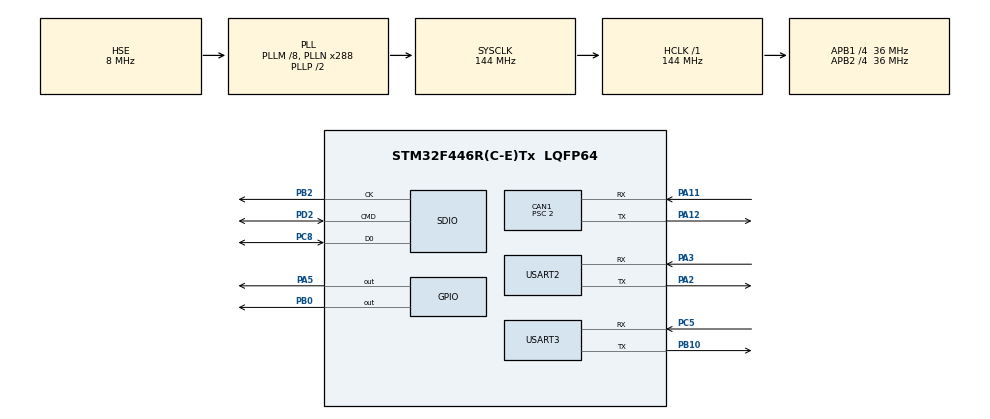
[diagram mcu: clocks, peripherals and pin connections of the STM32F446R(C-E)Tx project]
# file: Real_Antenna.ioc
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CAN1.BS1=CAN_BS1_12TQ
CAN1.BS2=CAN_BS2_5TQ
CAN1.CalculateTimeQuantum=55.55555555555556
CAN1.Prescaler=2
Dma.Request0=SDIO_RX
Dma.Request1=SDIO_TX
Dma.SDIO_RX.0.Direction=DMA_PERIPH_TO_MEMORY
Dma.SDIO_RX.0.FIFOMode=DMA_FIFOMODE_ENABLE
Dma.SDIO_RX.0.FIFOThreshold=DMA_FIFO_THRESHOLD_FULL
Dma.SDIO_RX.0.Instance=DMA2_Stream3
Dma.SDIO_RX.0.MemBurst=DMA_MBURST_INC4
Dma.SDIO_RX.0.MemDataAlignment=DMA_MDATAALIGN_WORD
Dma.SDIO_RX.0.MemInc=DMA_MINC_ENABLE
Dma.SDIO_RX.0.Mode=DMA_PFCTRL
Dma.SDIO_RX.0.PeriphBurst=DMA_PBURST_INC4
Dma.SDIO_RX.0.PeriphDataAlignment=DMA_PDATAALIGN_WORD
Dma.SDIO_RX.0.PeriphInc=DMA_PINC_DISABLE
Dma.SDIO_RX.0.Priority=DMA_PRIORITY_LOW
Dma.SDIO_TX.1.Direction=DMA_MEMORY_TO_PERIPH
Dma.SDIO_TX.1.FIFOMode=DMA_FIFOMODE_ENABLE
Dma.SDIO_TX.1.FIFOThreshold=DMA_FIFO_THRESHOLD_FULL
Dma.SDIO_TX.1.Instance=DMA2_Stream6
Dma.SDIO_TX.1.MemBurst=DMA_MBURST_INC4
Dma.SDIO_TX.1.MemDataAlignment=DMA_MDATAALIGN_WORD
Dma.SDIO_TX.1.MemInc=DMA_MINC_ENABLE
Dma.SDIO_TX.1.Mode=DMA_PFCTRL
Dma.SDIO_TX.1.PeriphBurst=DMA_PBURST_INC4
Dma.SDIO_TX.1.PeriphDataAlignment=DMA_PDATAALIGN_WORD
Dma.SDIO_TX.1.PeriphInc=DMA_PINC_DISABLE
Dma.SDIO_TX.1.Priority=DMA_PRIORITY_LOW
FATFS.USE_DMA_CODE_SD=1
Mcu.Family=STM32F4
Mcu.Name=STM32F446R(C-E)Tx
Mcu.Package=LQFP64
NVIC.CAN1_RX0_IRQn=true\:0\:0\:false\:true\:true\:1\:true
NVIC.CAN1_RX1_IRQn=true\:0\:0\:false\:true\:true\:2\:true
NVIC.CAN1_SCE_IRQn=true\:0\:0\:false\:true\:true\:3\:true
NVIC.DMA2_Stream3_IRQn=true\:0\:0\:false\:false\:true\:false
NVIC.DMA2_Stream6_IRQn=true\:0\:0\:false\:false\:true\:false
NVIC.PriorityGroup=NVIC_PRIORITYGROUP_4
NVIC.SDIO_IRQn=true\:0\:0\:false\:false\:true\:true
NVIC.TIM6_DAC_IRQn=true\:0\:0\:false\:true\:true\:4\:true
NVIC.TIM7_IRQn=true\:0\:0\:false\:true\:true\:5\:true
PA11.Mode=Master
PA11.Signal=CAN1_RX
PA12.Mode=Master
PA12.Signal=CAN1_TX
PA2.Mode=Asynchronous
PA2.Signal=USART2_TX
PA3.Mode=Asynchronous
PA3.Signal=USART2_RX
PA5.GPIO_PuPd=GPIO_PULLUP
PA5.Signal=GPIO_Output
PB0.GPIO_PuPd=GPIO_PULLUP
PB0.Signal=GPIO_Output
PB10.Mode=Asynchronous
PB10.Signal=USART3_TX
PB2.Mode=SD_1_bit
PB2.Signal=SDIO_CK
PC5.Mode=Asynchronous
PC5.Signal=USART3_RX
PC8.Mode=SD_1_bit
PC8.Signal=SDIO_D0
PD2.Mode=SD_1_bit
PD2.Signal=SDIO_CMD
PH0-OSC_IN.Mode=HSE-External-Clock-Source
PH0-OSC_IN.Signal=RCC_OSC_IN
PH1-OSC_OUT.Mode=HSE-External-Clock-Source
PH1-OSC_OUT.Signal=RCC_OSC_OUT
ProjectManager.HeapSize=0x2000
ProjectManager.StackSize=0x4000
ProjectManager.TargetToolchain=SW4STM32
RCC.AHBFreq_Value=144000000
RCC.APB1CLKDivider=RCC_HCLK_DIV4
RCC.APB1Freq_Value=36000000
RCC.APB1TimFreq_Value=72000000
RCC.APB2CLKDivider=RCC_HCLK_DIV4
RCC.APB2Freq_Value=36000000
RCC.APB2TimFreq_Value=72000000
RCC.CortexFreq_Value=144000000
RCC.HCLKFreq_Value=144000000
RCC.HSE_VALUE=8000000
RCC.PLLM=8
RCC.PLLN=288
RCC.PLLQ=8
RCC.PLLSourceVirtual=RCC_PLLSOURCE_HSE
RCC.SYSCLKFreq_VALUE=144000000
RCC.SYSCLKSource=RCC_SYSCLKSOURCE_PLLCLK
RCC.USBFreq_Value=36000000
RCC.VCOOutputFreq_Value=288000000
TIM6.Period=1000
TIM6.Prescaler=72
TIM7.Period=1999
TIM7.Prescaler=3600
USART2.VirtualMode=VM_ASYNC
USART3.VirtualMode=VM_ASYNC
VP_FATFS_VS_SDIO.Mode=SDIO
VP_TIM6_VS_ClockSourceINT.Mode=Enable_Timer
VP_TIM7_VS_ClockSourceINT.Mode=Enable_Timer
board=Real_Antenna

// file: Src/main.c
/**
  ******************************************************************************
  * @file           : main.c
  * @brief          : Main program body
  ******************************************************************************
  * This notice applies to any and all portions of this file
  * that are not between comment pairs USER CODE BEGIN and
  * USER CODE END. Other portions of this file, whether
  * inserted by the user or by software development tools
  * are owned by their respective copyright owners.
  *
  * Copyright (c) 2018 STMicroelectronics International N.V.
  * All rights reserved.
  *
  * Redistribution and use in source and binary forms, with or without
  * modification, are permitted, provided that the following conditions are met:
  *
  * 1. Redistribution of source code must retain the above copyright notice,
  *    this list of conditions and the following disclaimer.
  * 2. Redistributions in binary form must reproduce the above copyright notice,
  *    this list of conditions and the following disclaimer in the documentation
  *    and/or other materials provided with the distribution.
  * 3. Neither the name of STMicroelectronics nor the names of other
  *    contributors to this software may be used to endorse or promote products
  *    derived from this software without specific written permission.
  * 4. This software, including modifications and/or derivative works of this
  *    software, must execute solely and exclusively on microcontroller or
  *    microprocessor devices manufactured by or for STMicroelectronics.
  * 5. Redistribution and use of this software other than as permitted under
  *    this license is void and will automatically terminate your rights under
  *    this license.
  *
  * THIS SOFTWARE IS PROVIDED BY STMICROELECTRONICS AND CONTRIBUTORS "AS IS"
  * AND ANY EXPRESS, IMPLIED OR STATUTORY WARRANTIES, INCLUDING, BUT NOT
  * LIMITED TO, THE IMPLIED WARRANTIES OF MERCHANTABILITY, FITNESS FOR A
  * PARTICULAR PURPOSE AND NON-INFRINGEMENT OF THIRD PARTY INTELLECTUAL PROPERTY
  * RIGHTS ARE DISCLAIMED TO THE FULLEST EXTENT PERMITTED BY LAW. IN NO EVENT
  * SHALL STMICROELECTRONICS OR CONTRIBUTORS BE LIABLE FOR ANY DIRECT, INDIRECT,
  * INCIDENTAL, SPECIAL, EXEMPLARY, OR CONSEQUENTIAL DAMAGES (INCLUDING, BUT NOT
  * LIMITED TO, PROCUREMENT OF SUBSTITUTE GOODS OR SERVICES; LOSS OF USE, DATA,
  * OR PROFITS; OR BUSINESS INTERRUPTION) HOWEVER CAUSED AND ON ANY THEORY OF
  * LIABILITY, WHETHER IN CONTRACT, STRICT LIABILITY, OR TORT (INCLUDING
  * NEGLIGENCE OR OTHERWISE) ARISING IN ANY WAY OUT OF THE USE OF THIS SOFTWARE,
  * EVEN IF ADVISED OF THE POSSIBILITY OF SUCH DAMAGE.
  *
  ******************************************************************************
  */
#include "main.h"
#include "stm32f4xx_hal.h"
#include "fatfs.h"

/* USER CODE BEGIN Includes */
#include "string.h"
#include "stdio.h"
#include "stdlib.h"
#include "inttypes.h"
/* USER CODE END Includes */

CAN_HandleTypeDef hcan1;

SD_HandleTypeDef hsd;
DMA_HandleTypeDef hdma_sdio_rx;
DMA_HandleTypeDef hdma_sdio_tx;

TIM_HandleTypeDef htim6;
TIM_HandleTypeDef htim7;

UART_HandleTypeDef huart2;
UART_HandleTypeDef huart3;

/* USER CODE BEGIN PV */
/* Private variables ---------------------------------------------------------*/
CAN_FilterTypeDef sFilter;
CAN_RxHeaderTypeDef RxHeader;

FIL loggingFile;
FIL log_names_f;

TCHAR message[256];

static TIM_HandleTypeDef a_TimerInstance6 = {.Instance = TIM6};
static TIM_HandleTypeDef a_TimerInstance7 = {.Instance = TIM7};

int secondsElapsed = 0;
int cont_rx=0;
char messagesToWrite[200][256];
int time=0;
int printable_time = 0;
int byteswritten;
int delta;
char filename[256] = "abcabc.txt";
char filename_1[256]="log_names.txt";
char txt[100];
int interrupt_flag = 0;
int max_files = 100;

int mount_ok = 0;
int msg_counter = 0;
int msg_index = 0;

char buffer[256]="Starting Antenna Logging\r\n";
int bytes_read;

char *pointer;
char log_names[356];
FRESULT res_open;
FRESULT res_mount;
int successfull_opening = 0;
/* USER CODE END PV */

void SystemClock_Config(void);
static void MX_GPIO_Init(void);
static void MX_DMA_Init(void);
static void MX_USART3_UART_Init(void);
static void MX_SDIO_SD_Init(void);
static void MX_USART2_UART_Init(void);
static void MX_CAN1_Init(void);
static void MX_TIM6_Init(void);
static void MX_TIM7_Init(void);
static void MX_NVIC_Init(void);

/* USER CODE BEGIN PFP */
/* Private function prototypes -----------------------------------------------*/
void print(UART_HandleTypeDef *huart, char* text);
/* USER CODE END PFP */

int main(void)
{

  /* MCU Configuration----------------------------------------------------------*/

  /* Reset of all peripherals, Initializes the Flash interface and the Systick. */
  HAL_Init();

  /* Configure the system clock */
  SystemClock_Config();

  /* Initialize all configured peripherals */
  MX_GPIO_Init();
  MX_DMA_Init();
  MX_USART3_UART_Init();
  MX_SDIO_SD_Init();
  MX_FATFS_Init();
  MX_USART2_UART_Init();
  MX_CAN1_Init();
  MX_TIM6_Init();
  MX_TIM7_Init();

  /* Initialize interrupts */
  MX_NVIC_Init();
  /* USER CODE BEGIN 2 */
	sFilter.FilterMode = CAN_FILTERMODE_IDMASK;
	sFilter.FilterIdLow = 0;
	sFilter.FilterIdHigh = 0;
	sFilter.FilterMaskIdHigh = 0;
	sFilter.FilterMaskIdLow = 0;
	sFilter.FilterFIFOAssignment = CAN_FILTER_FIFO0;
	sFilter.FilterBank = 0;
	sFilter.FilterScale  = CAN_FILTERSCALE_16BIT;
	sFilter.FilterActivation = ENABLE;
	HAL_CAN_ConfigFilter(&hcan1, &sFilter);

	HAL_GPIO_TogglePin(GPIOB, GPIO_PIN_0);
	HAL_Delay(500);
	HAL_GPIO_TogglePin(GPIOB, GPIO_PIN_0);
	HAL_Delay(500);

	print(&huart2, "---mounting---\r\n");
	res_mount = f_mount(&SDFatFS, (TCHAR const*)SDPath, 0);

	HAL_Delay(10);

	while(successfull_opening != 1){
		init_sd();
	}

	HAL_CAN_Start(&hcan1);
	HAL_CAN_ActivateNotification(&hcan1, CAN1_RX0_IRQn);
	HAL_CAN_ActivateNotification(&hcan1, CAN1_RX1_IRQn);

	print(&huart2, "Can Init Done\r\n");

	HAL_TIM_Base_Start(&htim6);
	HAL_TIM_Base_Start(&htim7);
	HAL_TIM_Base_Start_IT(&htim6);
	HAL_TIM_Base_Start_IT(&htim7);

	//HAL_GPIO_TogglePin(GPIOB, GPIO_PIN_0);
  /* USER CODE END 2 */

  /* Infinite loop */
  /* USER CODE BEGIN WHILE */
  FRESULT closing_result = 0;
  while (1)
  {
	  if(interrupt_flag == 1 && mount_ok == 1){
		  //HAL_CAN_DeactivateNotification(&hcan1, CAN1_RX0_IRQn);
		  //HAL_CAN_DeactivateNotification(&hcan1, CAN1_RX1_IRQn);
		  interrupt_flag = 0;
		  char time_str[20];
		  sprintf(time_str,"%d\r\n",printable_time);
		  print(&huart2, time_str);
		  //delta=__HAL_TIM_GET_COUNTER(&a_TimerInstance6); //10 microseconds needed tocexecute all the if
		  msg_counter = 0;
		  //HAL_TIM_Base_Stop_IT(&htim6);
		  //HAL_TIM_Base_Stop_IT(&htim7);
		  //6 microseconds needed to close and open
		  closing_result = f_close(&loggingFile);
		  f_open(&loggingFile, (TCHAR const*)&filename, FA_OPEN_APPEND | FA_OPEN_ALWAYS | FA_WRITE );

		  //HAL_CAN_ActivateNotification(&hcan1, CAN1_RX0_IRQn);
		  //HAL_CAN_ActivateNotification(&hcan1, CAN1_RX1_IRQn);
		  //HAL_TIM_Base_Start_IT(&htim6);
		  //HAL_TIM_Base_Start_IT(&htim7);
		  if(closing_result == FR_OK){
			  HAL_GPIO_TogglePin(GPIOB, GPIO_PIN_0);
		  }
		  //delta=__HAL_TIM_GET_COUNTER(&a_TimerInstance6)-delta;
		  //sprintf(txt, "%d\r\n", delta);
          //print(&huart2, txt);
	  }
	  if(msg_index >= 0){
	  	  f_write(&loggingFile,messagesToWrite[msg_index],strlen(messagesToWrite[msg_index]),(void*)&byteswritten);
	  	  msg_index --;
	  }

  /* USER CODE END WHILE */

  }

}

void SystemClock_Config(void)
{

  RCC_OscInitTypeDef RCC_OscInitStruct;
  RCC_ClkInitTypeDef RCC_ClkInitStruct;
  RCC_PeriphCLKInitTypeDef PeriphClkInitStruct;

    /**Configure the main internal regulator output voltage
    */
  __HAL_RCC_PWR_CLK_ENABLE();

  __HAL_PWR_VOLTAGESCALING_CONFIG(PWR_REGULATOR_VOLTAGE_SCALE1);

    /**Initializes the CPU, AHB and APB busses clocks
    */
  RCC_OscInitStruct.OscillatorType = RCC_OSCILLATORTYPE_HSE;
  RCC_OscInitStruct.HSEState = RCC_HSE_BYPASS;
  RCC_OscInitStruct.PLL.PLLState = RCC_PLL_ON;
  RCC_OscInitStruct.PLL.PLLSource = RCC_PLLSOURCE_HSE;
  RCC_OscInitStruct.PLL.PLLM = 8;
  RCC_OscInitStruct.PLL.PLLN = 288;
  RCC_OscInitStruct.PLL.PLLP = RCC_PLLP_DIV2;
  RCC_OscInitStruct.PLL.PLLQ = 8;
  RCC_OscInitStruct.PLL.PLLR = 2;
  if (HAL_RCC_OscConfig(&RCC_OscInitStruct) != HAL_OK)
  {
    _Error_Handler(__FILE__, __LINE__);
  }

    /**Initializes the CPU, AHB and APB busses clocks
    */
  RCC_ClkInitStruct.ClockType = RCC_CLOCKTYPE_HCLK|RCC_CLOCKTYPE_SYSCLK
                              |RCC_CLOCKTYPE_PCLK1|RCC_CLOCKTYPE_PCLK2;
  RCC_ClkInitStruct.SYSCLKSource = RCC_SYSCLKSOURCE_PLLCLK;
  RCC_ClkInitStruct.AHBCLKDivider = RCC_SYSCLK_DIV1;
  RCC_ClkInitStruct.APB1CLKDivider = RCC_HCLK_DIV4;
  RCC_ClkInitStruct.APB2CLKDivider = RCC_HCLK_DIV4;

  if (HAL_RCC_ClockConfig(&RCC_ClkInitStruct, FLASH_LATENCY_4) != HAL_OK)
  {
    _Error_Handler(__FILE__, __LINE__);
  }

  PeriphClkInitStruct.PeriphClockSelection = RCC_PERIPHCLK_SDIO|RCC_PERIPHCLK_CLK48;
  PeriphClkInitStruct.Clk48ClockSelection = RCC_CLK48CLKSOURCE_PLLQ;
  PeriphClkInitStruct.SdioClockSelection = RCC_SDIOCLKSOURCE_CLK48;
  if (HAL_RCCEx_PeriphCLKConfig(&PeriphClkInitStruct) != HAL_OK)
  {
    _Error_Handler(__FILE__, __LINE__);
  }

    /**Configure the Systick interrupt time
    */
  HAL_SYSTICK_Config(HAL_RCC_GetHCLKFreq()/1000);

    /**Configure the Systick
    */
  HAL_SYSTICK_CLKSourceConfig(SYSTICK_CLKSOURCE_HCLK);

  /* SysTick_IRQn interrupt configuration */
  HAL_NVIC_SetPriority(SysTick_IRQn, 0, 0);
}

/**
  * @brief NVIC Configuration.
  * @retval None
  */
static void MX_NVIC_Init(void)
{
  /* CAN1_RX0_IRQn interrupt configuration */
  HAL_NVIC_SetPriority(CAN1_RX0_IRQn, 0, 0);
  HAL_NVIC_EnableIRQ(CAN1_RX0_IRQn);
  /* CAN1_RX1_IRQn interrupt configuration */
  HAL_NVIC_SetPriority(CAN1_RX1_IRQn, 0, 0);
  HAL_NVIC_EnableIRQ(CAN1_RX1_IRQn);
  /* CAN1_SCE_IRQn interrupt configuration */
  HAL_NVIC_SetPriority(CAN1_SCE_IRQn, 0, 0);
  HAL_NVIC_EnableIRQ(CAN1_SCE_IRQn);
  /* TIM6_DAC_IRQn interrupt configuration */
  HAL_NVIC_SetPriority(TIM6_DAC_IRQn, 0, 0);
  HAL_NVIC_EnableIRQ(TIM6_DAC_IRQn);
  /* TIM7_IRQn interrupt configuration */
  HAL_NVIC_SetPriority(TIM7_IRQn, 0, 0);
  HAL_NVIC_EnableIRQ(TIM7_IRQn);
}

/* CAN1 init function */
static void MX_CAN1_Init(void)
{

  hcan1.Instance = CAN1;
  hcan1.Init.Prescaler = 2;
  hcan1.Init.Mode = CAN_MODE_NORMAL;
  hcan1.Init.SyncJumpWidth = CAN_SJW_1TQ;
  hcan1.Init.TimeSeg1 = CAN_BS1_12TQ;
  hcan1.Init.TimeSeg2 = CAN_BS2_5TQ;
  hcan1.Init.TimeTriggeredMode = DISABLE;
  hcan1.Init.AutoBusOff = DISABLE;
  hcan1.Init.AutoWakeUp = DISABLE;
  hcan1.Init.AutoRetransmission = DISABLE;
  hcan1.Init.ReceiveFifoLocked = DISABLE;
  hcan1.Init.TransmitFifoPriority = DISABLE;
  if (HAL_CAN_Init(&hcan1) != HAL_OK)
  {
    _Error_Handler(__FILE__, __LINE__);
  }

}

/* SDIO init function */
static void MX_SDIO_SD_Init(void)
{

  hsd.Instance = SDIO;
  hsd.Init.ClockEdge = SDIO_CLOCK_EDGE_RISING;
  hsd.Init.ClockBypass = SDIO_CLOCK_BYPASS_DISABLE;
  hsd.Init.ClockPowerSave = SDIO_CLOCK_POWER_SAVE_DISABLE;
  hsd.Init.BusWide = SDIO_BUS_WIDE_1B;
  hsd.Init.HardwareFlowControl = SDIO_HARDWARE_FLOW_CONTROL_DISABLE;
  hsd.Init.ClockDiv = 0;

}

/* TIM6 init function */
static void MX_TIM6_Init(void)
{

  TIM_MasterConfigTypeDef sMasterConfig;

  htim6.Instance = TIM6;
  htim6.Init.Prescaler = 72;
  htim6.Init.CounterMode = TIM_COUNTERMODE_UP;
  htim6.Init.Period = 1000;
  if (HAL_TIM_Base_Init(&htim6) != HAL_OK)
  {
    _Error_Handler(__FILE__, __LINE__);
  }

  sMasterConfig.MasterOutputTrigger = TIM_TRGO_RESET;
  sMasterConfig.MasterSlaveMode = TIM_MASTERSLAVEMODE_DISABLE;
  if (HAL_TIMEx_MasterConfigSynchronization(&htim6, &sMasterConfig) != HAL_OK)
  {
    _Error_Handler(__FILE__, __LINE__);
  }

}

/* TIM7 init function */
static void MX_TIM7_Init(void)
{

  TIM_MasterConfigTypeDef sMasterConfig;

  htim7.Instance = TIM7;
  htim7.Init.Prescaler = 3600;
  htim7.Init.CounterMode = TIM_COUNTERMODE_UP;
	htim7.Init.Period = 999;
  if (HAL_TIM_Base_Init(&htim7) != HAL_OK)
  {
    _Error_Handler(__FILE__, __LINE__);
  }

  sMasterConfig.MasterOutputTrigger = TIM_TRGO_RESET;
  sMasterConfig.MasterSlaveMode = TIM_MASTERSLAVEMODE_DISABLE;
  if (HAL_TIMEx_MasterConfigSynchronization(&htim7, &sMasterConfig) != HAL_OK)
  {
    _Error_Handler(__FILE__, __LINE__);
  }

}

/* USART2 init function */
static void MX_USART2_UART_Init(void)
{

  huart2.Instance = USART2;
  huart2.Init.BaudRate = 115200;
  huart2.Init.WordLength = UART_WORDLENGTH_8B;
  huart2.Init.StopBits = UART_STOPBITS_1;
  huart2.Init.Parity = UART_PARITY_NONE;
  huart2.Init.Mode = UART_MODE_TX_RX;
  huart2.Init.HwFlowCtl = UART_HWCONTROL_NONE;
  huart2.Init.OverSampling = UART_OVERSAMPLING_16;
  if (HAL_UART_Init(&huart2) != HAL_OK)
  {
    _Error_Handler(__FILE__, __LINE__);
  }

}

/* USART3 init function */
static void MX_USART3_UART_Init(void)
{

  huart3.Instance = USART3;
  huart3.Init.BaudRate = 115200;
  huart3.Init.WordLength = UART_WORDLENGTH_8B;
  huart3.Init.StopBits = UART_STOPBITS_1;
  huart3.Init.Parity = UART_PARITY_NONE;
  huart3.Init.Mode = UART_MODE_TX_RX;
  huart3.Init.HwFlowCtl = UART_HWCONTROL_NONE;
  huart3.Init.OverSampling = UART_OVERSAMPLING_16;
  if (HAL_UART_Init(&huart3) != HAL_OK)
  {
    _Error_Handler(__FILE__, __LINE__);
  }

}

static void MX_DMA_Init(void)
{
  /* DMA controller clock enable */
  __HAL_RCC_DMA2_CLK_ENABLE();

  /* DMA interrupt init */
  /* DMA2_Stream3_IRQn interrupt configuration */
  HAL_NVIC_SetPriority(DMA2_Stream3_IRQn, 0, 0);
  HAL_NVIC_EnableIRQ(DMA2_Stream3_IRQn);
  /* DMA2_Stream6_IRQn interrupt configuration */
  HAL_NVIC_SetPriority(DMA2_Stream6_IRQn, 0, 0);
  HAL_NVIC_EnableIRQ(DMA2_Stream6_IRQn);

}

/** Configure pins as
        * Analog
        * Input
        * Output
        * EVENT_OUT
        * EXTI
*/
static void MX_GPIO_Init(void)
{

  GPIO_InitTypeDef GPIO_InitStruct;

  /* GPIO Ports Clock Enable */
  __HAL_RCC_GPIOH_CLK_ENABLE();
  __HAL_RCC_GPIOA_CLK_ENABLE();
  __HAL_RCC_GPIOC_CLK_ENABLE();
  __HAL_RCC_GPIOB_CLK_ENABLE();
  __HAL_RCC_GPIOD_CLK_ENABLE();

  /*Configure GPIO pin Output Level */
  HAL_GPIO_WritePin(GPIOA, GPIO_PIN_5, GPIO_PIN_RESET);

  /*Configure GPIO pin Output Level */
  HAL_GPIO_WritePin(GPIOB, GPIO_PIN_0, GPIO_PIN_RESET);

  /*Configure GPIO pin : PA5 */
  GPIO_InitStruct.Pin = GPIO_PIN_5;
  GPIO_InitStruct.Mode = GPIO_MODE_OUTPUT_PP;
  GPIO_InitStruct.Pull = GPIO_PULLUP;
  GPIO_InitStruct.Speed = GPIO_SPEED_FREQ_LOW;
  HAL_GPIO_Init(GPIOA, &GPIO_InitStruct);

  /*Configure GPIO pin : PB0 */
  GPIO_InitStruct.Pin = GPIO_PIN_0;
  GPIO_InitStruct.Mode = GPIO_MODE_OUTPUT_PP;
  GPIO_InitStruct.Pull = GPIO_PULLUP;
  GPIO_InitStruct.Speed = GPIO_SPEED_FREQ_LOW;
  HAL_GPIO_Init(GPIOB, &GPIO_InitStruct);

}

/* USER CODE BEGIN 4 */
void print(UART_HandleTypeDef *huart, char* text){
  HAL_UART_Transmit(huart, (uint8_t*)text, strlen(text), 5);
  //HAL_UART_Transmit(huart, (uint8_t*)"\r\n", 2, 1);
}
int CAN_Receive(uint8_t *DataRx, int size){

	if (HAL_CAN_GetRxFifoFillLevel(&hcan1, CAN_RX_FIFO0) != 0){
		HAL_CAN_GetRxMessage(&hcan1, CAN_RX_FIFO0, &RxHeader, DataRx);
	}

	int id = RxHeader.StdId;

	return id;
}
void HAL_CAN_RxFifo0FullCallback(CAN_HandleTypeDef *hcan){
	//HAL_GPIO_TogglePin(GPIOB, GPIO_PIN_0);
	uint8_t RxData[8];
	int id;
	id=CAN_Receive(RxData, 8);
	cont_rx++;
	//int time = secondsElapsed * 1000 + __HAL_TIM_GET_COUNTER(&htim6) / 20; //20 ticks for each millisecond
	//printable_time=time*1000+ __HAL_TIM_GET_COUNTER(&htim6);
	delta=0;

	if(mount_ok == 1){
		msg_index ++;
		printable_time = time*1000+ __HAL_TIM_GET_COUNTER(&htim6);
		msg_counter ++;
		//sprintf(messagesToWrite[msg_index], "%d\t%d\t%d\t%d\t%d\t%d\t%d\t%d\t%d\r\n", printable_time, msg_index, 000, 2, 3, 4, 5, 6, 7);
		sprintf(messagesToWrite[msg_index], "%d\t%d\t%u\t%u\t%u\t%u\t%u\t%u\t%u\t%u\r\n", printable_time, id, RxData[0], RxData[1], RxData[2], RxData[3], RxData[4], RxData[5], RxData[6], RxData[7]);
		//HAL_GPIO_TogglePin(GPIOB, GPIO_PIN_0);
	}

	/*
	HAL_GPIO_TogglePin(GPIOB, GPIO_PIN_0);
	delta=__HAL_TIM_GET_COUNTER(&a_TimerInstance6);
	sprintf(messagesToWrite, "%d\t%d\t%u\t%u\t%u\t%u\t%u\t%u\t%u\t%u\r\n", time, id,RxData[0], RxData[1], RxData[2], RxData[3], RxData[4], RxData[5], RxData[6], RxData[7]);
	delta=__HAL_TIM_GET_COUNTER(&a_TimerInstance6)-delta;
	f_write(&loggingFile,messagesToWrite,strlen(messagesToWrite),(void*)&byteswritten);*/
	/*if(changedState == 1)
		{
			for(int i= 0; i < 5; i++)
			{
				sprintf(messagesToWrite[secondIndexWrite], "-----\r\n");
				secondIndexWrite = (secondIndexWrite + 1) % DIM_ARRAY_MSG_TO_WRITE;
			}
			changedState = 0;
		}

		isInSetupOrRun = 1; // TODO: TOGLIERE QUESTA RIGA DI MERDA, SPADA TI AMMAZZO
		if(isInSetupOrRun == 1)
		{
			sprintf(messagesToWrite[secondIndexWrite], "%d\t%d\t%u\t%u\t%u\t%u\t%u\t%u\t%u\t%u\r\n", time, id, RxData[0], RxData[1], RxData[2], RxData[3], RxData[4], RxData[5], RxData[6], RxData[7]);
			secondIndexWrite = (secondIndexWrite + 1) % DIM_ARRAY_MSG_TO_WRITE;
		}*/
}

void HAL_TIM_PeriodElapsedCallback(TIM_HandleTypeDef *htim){
	if(htim == &htim7){
		interrupt_flag = 1;
	}
}

/*
void HAL_TIM_PeriodElapsedCallback(TIM_HandleTypeDef *htim)
  {
	if(firstBMSIndex != secondBMSIndex)
	{
		if (htim->Instance == TIM7 && isInBMSDataMode == 1) {
			HAL_UART_Transmit(&huart3, bmsMessages[firstBMSIndex], strlen(bmsMessages[firstBMSIndex]), 5);
			firstBMSIndex = (firstBMSIndex + 1) % 200;
		}
	}

	if(htim->Instance == TIM6)
	{
		if(isInBMSDataMode == 0)
		{
			char antennaMessage[256];
			sprintf(antennaMessage, "-\r\n%s%s%s%s%s", carStatus, antennaMessageHV, antennaMessageLV, antennaMessageINVSX, antennaMessageINVDX);
			HAL_UART_Transmit(&huart3, antennaMessage, strlen(antennaMessage), 5);
		}
		secondsElapsed++;
	}
  }*/

void init_sd(){
	if(res_mount != FR_OK){
		print(&huart2, "---mounting---\r\n");
		res_mount = f_mount(&SDFatFS, (TCHAR const*)SDPath, 0);
	}
	if (res_mount == FR_OK) {
		sprintf(filename_1, "name.txt");
		res_open=f_open(&log_names_f, (TCHAR const*)&filename_1, FA_OPEN_ALWAYS | FA_READ | FA_WRITE );
		f_read(&log_names_f, log_names, 256, (void*)&bytes_read);

		print(&huart2, "mounted, opened\r\n");

		sprintf(txt, "%s\r\n", log_names);
		print(&huart2, txt);

		char name[256];

		f_close(&log_names_f);
		f_open(&log_names_f, (TCHAR const*)&filename_1, FA_OPEN_APPEND | FA_OPEN_ALWAYS | FA_READ | FA_WRITE );

		for(int i = 0; i < max_files; i++){

			sprintf(name, "log_%d ", i);

			pointer = strstr(log_names, name);

			if(i == max_files){
				sprintf(filename,"default.txt");

				f_open(&loggingFile, (TCHAR const*)&filename, FA_OPEN_APPEND | FA_OPEN_ALWAYS | FA_READ | FA_WRITE );
				f_write(&loggingFile, buffer, strlen(buffer), (void*)&byteswritten);
				f_close(&loggingFile);
				f_open(&loggingFile, (TCHAR const*)&filename, FA_OPEN_APPEND | FA_OPEN_ALWAYS | FA_READ | FA_WRITE );

				print(&huart2, "created -> default.txt\r\n");

				successfull_opening = 1;

				break;
			}

			if(i == 0 && pointer == NULL){

				sprintf(filename, "log_0 \t\r\n");

				f_write(&log_names_f, filename, strlen(filename), (void*)&byteswritten);
				f_close(&log_names_f);

				sprintf(filename, "Log_0.txt");

				f_open(&loggingFile, (TCHAR const*)&filename, FA_OPEN_APPEND | FA_OPEN_ALWAYS | FA_READ | FA_WRITE );
				f_write(&loggingFile, buffer, strlen(buffer), (void*)&byteswritten);
				f_close(&loggingFile);
				f_open(&loggingFile, (TCHAR const*)&filename, FA_OPEN_APPEND | FA_OPEN_ALWAYS | FA_READ | FA_WRITE );

				print(&huart2, "\r\ncreated -> Log_0\r\n");

				successfull_opening = 1;

				break;
			}
			if(pointer == NULL){
				sprintf(filename, "log_%d \t\r\n", i);

				f_write(&log_names_f, filename, strlen(filename), (void*)&byteswritten);
				f_close(&log_names_f);

				sprintf(filename, "Log_%d.txt", i);

				f_open(&loggingFile, (TCHAR const*)&filename, FA_OPEN_APPEND | FA_OPEN_ALWAYS | FA_READ | FA_WRITE );
				f_write(&loggingFile, buffer, strlen(buffer), (void*)&byteswritten);
				f_close(&loggingFile);
				f_open(&loggingFile, (TCHAR const*)&filename, FA_OPEN_APPEND | FA_OPEN_ALWAYS | FA_READ | FA_WRITE );

				print(&huart2, "\r\ncreated -> ");
				print(&huart2, filename);
				print(&huart2, "\r\n");

				successfull_opening = 1;

				break;
			}
		}

		mount_ok = 1;
		print(&huart2, "files closed\r\n");
	}else {
		mount_ok = 0;
	}
}

/* USER CODE END 4 */

void _Error_Handler(char *file, int line)
{
  /* USER CODE BEGIN Error_Handler_Debug */
  /* User can add his own implementation to report the HAL error return state */
  while(1)
  {
	  HAL_Delay(500);
	  HAL_GPIO_TogglePin(GPIOB, GPIO_PIN_0);
	  HAL_Delay(2000);
	  HAL_GPIO_TogglePin(GPIOB, GPIO_PIN_0);
  }
  /* USER CODE END Error_Handler_Debug */
}

/************************ (C) COPYRIGHT STMicroelectronics *****END OF FILE****/
